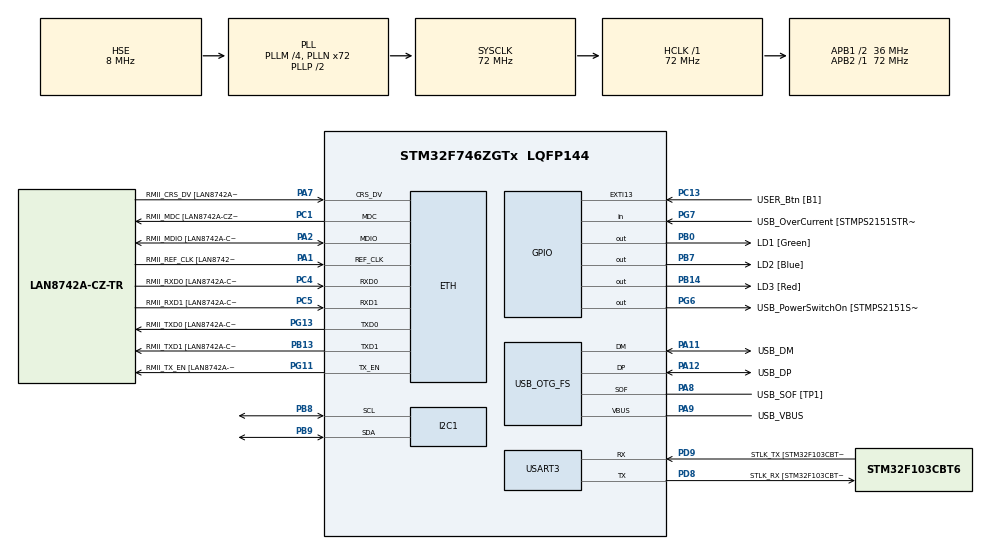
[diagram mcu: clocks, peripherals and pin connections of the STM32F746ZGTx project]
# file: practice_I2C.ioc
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CORTEX_M7.default_mode_Activation=1
ETH.MediaInterface=HAL_ETH_RMII_MODE
ETH.PHY_Name=LAN8742A_PHY_ADDRESS
ETH.PHY_Value=0
ETH.PhyAddress=0
I2C1.Timing=0x00808CD2
Mcu.Family=STM32F7
Mcu.Name=STM32F746ZGTx
Mcu.Package=LQFP144
NVIC.PriorityGroup=NVIC_PRIORITYGROUP_4
PA1.GPIO_Label=RMII_REF_CLK [LAN8742A-CZ-TR_REFCLK0]
PA1.Mode=RMII
PA1.Signal=ETH_REF_CLK
PA10.GPIO_Label=USB_ID
PA10.Signal=USB_OTG_FS_ID
PA11.GPIO_Label=USB_DM
PA11.Mode=Device_Only
PA11.Signal=USB_OTG_FS_DM
PA12.GPIO_Label=USB_DP
PA12.Mode=Device_Only
PA12.Signal=USB_OTG_FS_DP
PA13.GPIO_Label=TMS
PA13.Mode=Serial_Wire
PA13.Signal=SYS_JTMS-SWDIO
PA14.GPIO_Label=TCK
PA14.Mode=Serial_Wire
PA14.Signal=SYS_JTCK-SWCLK
PA2.GPIO_Label=RMII_MDIO [LAN8742A-CZ-TR_MDIO]
PA2.Mode=RMII
PA2.Signal=ETH_MDIO
PA7.GPIO_Label=RMII_CRS_DV [LAN8742A-CZ-TR_CRS_DV]
PA7.Mode=RMII
PA7.Signal=ETH_CRS_DV
PA8.GPIO_Label=USB_SOF [TP1]
PA8.Mode=Activate_SOF_FS
PA8.Signal=USB_OTG_FS_SOF
PA9.GPIO_Label=USB_VBUS
PA9.Mode=Activate_VBUS
PA9.Signal=USB_OTG_FS_VBUS
PB0.GPIO_Label=LD1 [Green]
PB0.Signal=GPIO_Output
PB13.GPIO_Label=RMII_TXD1 [LAN8742A-CZ-TR_TXD1]
PB13.Mode=RMII
PB13.Signal=ETH_TXD1
PB14.GPIO_Label=LD3 [Red]
PB14.Signal=GPIO_Output
PB3.GPIO_Label=SW0
PB3.Signal=SYS_JTDO-SWO
PB7.GPIO_Label=LD2 [Blue]
PB7.Signal=GPIO_Output
PB8.Mode=I2C
PB8.Signal=I2C1_SCL
PB9.Mode=I2C
PB9.Signal=I2C1_SDA
PC1.GPIO_Label=RMII_MDC [LAN8742A-CZ-TR_MDC]
PC1.Mode=RMII
PC1.Signal=ETH_MDC
PC13.GPIO_Label=USER_Btn [B1]
PC13.Signal=GPXTI13
PC14/OSC32_IN.Mode=LSE-External-Oscillator
PC14/OSC32_IN.Signal=RCC_OSC32_IN
PC15/OSC32_OUT.Mode=LSE-External-Oscillator
PC15/OSC32_OUT.Signal=RCC_OSC32_OUT
PC4.GPIO_Label=RMII_RXD0 [LAN8742A-CZ-TR_RXD0]
PC4.Mode=RMII
PC4.Signal=ETH_RXD0
PC5.GPIO_Label=RMII_RXD1 [LAN8742A-CZ-TR_RXD1]
PC5.Mode=RMII
PC5.Signal=ETH_RXD1
PD8.GPIO_Label=STLK_RX [STM32F103CBT6_PA3]
PD8.GPIO_PuPd=GPIO_PULLUP
PD8.Mode=Asynchronous
PD8.Signal=USART3_TX
PD9.GPIO_Label=STLK_TX [STM32F103CBT6_PA2]
PD9.GPIO_PuPd=GPIO_PULLUP
PD9.Mode=Asynchronous
PD9.Signal=USART3_RX
PG11.GPIO_Label=RMII_TX_EN [LAN8742A-CZ-TR_TXEN]
PG11.Mode=RMII
PG11.Signal=ETH_TX_EN
PG13.GPIO_Label=RMII_TXD0 [LAN8742A-CZ-TR_TXD0]
PG13.Mode=RMII
PG13.Signal=ETH_TXD0
PG6.GPIO_Label=USB_PowerSwitchOn [STMPS2151STR_EN]
PG6.Signal=GPIO_Output
PG7.GPIO_Label=USB_OverCurrent [STMPS2151STR_FAULT]
PG7.Signal=GPIO_Input
PH0/OSC_IN.GPIO_Label=MCO [STM32F103CBT6_PA8]
PH0/OSC_IN.Mode=HSE-External-Clock-Source
PH0/OSC_IN.Signal=RCC_OSC_IN
PH1/OSC_OUT.Mode=HSE-External-Clock-Source
PH1/OSC_OUT.Signal=RCC_OSC_OUT
ProjectManager.HeapSize=0x200
ProjectManager.StackSize=0x400
ProjectManager.TargetToolchain=STM32CubeIDE
RCC.48MHZClocksFreq_Value=24000000
RCC.AHBFreq_Value=72000000
RCC.APB1CLKDivider=RCC_HCLK_DIV2
RCC.APB1Freq_Value=36000000
RCC.APB1TimFreq_Value=72000000
RCC.APB2Freq_Value=72000000
RCC.APB2TimFreq_Value=72000000
RCC.CortexFreq_Value=72000000
RCC.HCLKFreq_Value=72000000
RCC.HSE_VALUE=8000000
RCC.HSI_VALUE=16000000
RCC.PLLM=4
RCC.PLLMUL=RCC_PLL_MUL9
RCC.PLLN=72
RCC.PLLQ=3
RCC.PRESCALERUSB=RCC_USBCLKSOURCE_PLL_DIV1_5
RCC.SYSCLKFreq_VALUE=72000000
RCC.SYSCLKSource=RCC_SYSCLKSOURCE_PLLCLK
RCC.SYSCLKSourceVirtual=RCC_SYSCLKSOURCE_PLLCLK
RCC.USBFreq_Value=48000000
RCC.VCOOutputFreq_Value=144000000
USART3.VirtualMode-Asynchronous=VM_ASYNC
USB_OTG_FS.VirtualMode=Device_Only
board=NUCLEO-F746ZG

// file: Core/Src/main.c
/* USER CODE BEGIN Header */
/**
  ******************************************************************************
  * @file           : main.c
  * @brief          : Main program body
  ******************************************************************************
  * @attention
  *
  * Copyright (c) 2026 STMicroelectronics.
  * All rights reserved.
  *
  * This software is licensed under terms that can be found in the LICENSE file
  * in the root directory of this software component.
  * If no LICENSE file comes with this software, it is provided AS-IS.
  *
  ******************************************************************************
  */
/* USER CODE END Header */
#include "main.h"
#include "eth.h"
#include "i2c.h"
#include "usart.h"
#include "usb_otg.h"
#include "gpio.h"

/* USER CODE BEGIN Includes */
#include <stdio.h>
/* USER CODE END Includes */

void SystemClock_Config(void);
static void MPU_Config(void);

/* USER CODE BEGIN 0 */
int __io_putchar(int ch) {
    HAL_UART_Transmit(&huart3, (uint8_t *)&ch, 1, 100);
    return ch;
}
/* USER CODE END 0 */

int main(void)
{

  /* MPU Configuration--------------------------------------------------------*/
  MPU_Config();

  /* MCU Configuration--------------------------------------------------------*/

  /* Reset of all peripherals, Initializes the Flash interface and the Systick. */
  HAL_Init();

  /* Configure the system clock */
  SystemClock_Config();

  /* Initialize all configured peripherals */
  MX_GPIO_Init();
  MX_ETH_Init();
  MX_I2C1_Init();
  MX_USART3_UART_Init();
  MX_USB_OTG_FS_PCD_Init();

  /* Infinite loop */
  /* USER CODE BEGIN WHILE */
  while (1)
  {
      printf("\r\n--- I2C Bus Scanning Start ---\r\n");
      uint8_t device_count = 0;

      for (uint8_t i = 1; i < 128; i++)
      {
          HAL_StatusTypeDef result = HAL_I2C_IsDeviceReady(&hi2c1, (uint16_t)(i << 1), 3, 100);

          if (result == HAL_OK)
          {
              printf("✅ Device found at address: 0x%02X\r\n", i);
              device_count++;
          }
      }

      if (device_count == 0)
      {
          printf("❌ No I2C devices found.\r\n");
      } else
      {
          printf("🔍 Total %d device(s) found.\r\n", device_count);
      }

      HAL_Delay(5000);
    /* USER CODE END WHILE */

  }
}

void SystemClock_Config(void)
{
  RCC_OscInitTypeDef RCC_OscInitStruct = {0};
  RCC_ClkInitTypeDef RCC_ClkInitStruct = {0};

  /** Configure LSE Drive Capability
  */
  HAL_PWR_EnableBkUpAccess();

  /** Configure the main internal regulator output voltage
  */
  __HAL_RCC_PWR_CLK_ENABLE();
  __HAL_PWR_VOLTAGESCALING_CONFIG(PWR_REGULATOR_VOLTAGE_SCALE3);

  /** Initializes the RCC Oscillators according to the specified parameters
  * in the RCC_OscInitTypeDef structure.
  */
  RCC_OscInitStruct.OscillatorType = RCC_OSCILLATORTYPE_HSE;
  RCC_OscInitStruct.HSEState = RCC_HSE_BYPASS;
  RCC_OscInitStruct.PLL.PLLState = RCC_PLL_ON;
  RCC_OscInitStruct.PLL.PLLSource = RCC_PLLSOURCE_HSE;
  RCC_OscInitStruct.PLL.PLLM = 4;
  RCC_OscInitStruct.PLL.PLLN = 72;
  RCC_OscInitStruct.PLL.PLLP = RCC_PLLP_DIV2;
  RCC_OscInitStruct.PLL.PLLQ = 3;
  if (HAL_RCC_OscConfig(&RCC_OscInitStruct) != HAL_OK)
  {
    Error_Handler();
  }

  /** Initializes the CPU, AHB and APB buses clocks
  */
  RCC_ClkInitStruct.ClockType = RCC_CLOCKTYPE_HCLK|RCC_CLOCKTYPE_SYSCLK
                              |RCC_CLOCKTYPE_PCLK1|RCC_CLOCKTYPE_PCLK2;
  RCC_ClkInitStruct.SYSCLKSource = RCC_SYSCLKSOURCE_PLLCLK;
  RCC_ClkInitStruct.AHBCLKDivider = RCC_SYSCLK_DIV1;
  RCC_ClkInitStruct.APB1CLKDivider = RCC_HCLK_DIV2;
  RCC_ClkInitStruct.APB2CLKDivider = RCC_HCLK_DIV1;

  if (HAL_RCC_ClockConfig(&RCC_ClkInitStruct, FLASH_LATENCY_2) != HAL_OK)
  {
    Error_Handler();
  }
}

 /* MPU Configuration */

void MPU_Config(void)
{
  MPU_Region_InitTypeDef MPU_InitStruct = {0};

  /* Disables the MPU */
  HAL_MPU_Disable();

  /** Initializes and configures the Region and the memory to be protected
  */
  MPU_InitStruct.Enable = MPU_REGION_ENABLE;
  MPU_InitStruct.Number = MPU_REGION_NUMBER0;
  MPU_InitStruct.BaseAddress = 0x0;
  MPU_InitStruct.Size = MPU_REGION_SIZE_4GB;
  MPU_InitStruct.SubRegionDisable = 0x87;
  MPU_InitStruct.TypeExtField = MPU_TEX_LEVEL0;
  MPU_InitStruct.AccessPermission = MPU_REGION_NO_ACCESS;
  MPU_InitStruct.DisableExec = MPU_INSTRUCTION_ACCESS_DISABLE;
  MPU_InitStruct.IsShareable = MPU_ACCESS_SHAREABLE;
  MPU_InitStruct.IsCacheable = MPU_ACCESS_NOT_CACHEABLE;
  MPU_InitStruct.IsBufferable = MPU_ACCESS_NOT_BUFFERABLE;

  HAL_MPU_ConfigRegion(&MPU_InitStruct);
  /* Enables the MPU */
  HAL_MPU_Enable(MPU_PRIVILEGED_DEFAULT);

}

void Error_Handler(void)
{
  __disable_irq();
  while (1)
  {
  }
}
